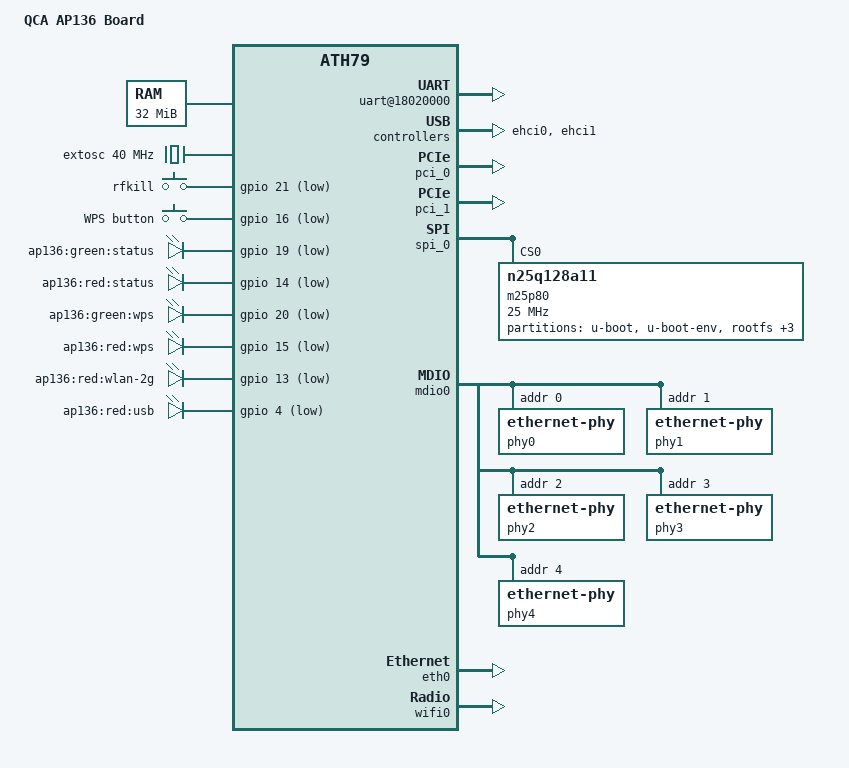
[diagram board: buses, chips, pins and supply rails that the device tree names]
/* Copyright (c) 2017, The Linux Foundation. All rights reserved.
 *
 * Permission to use, copy, modify, and/or distribute this software for any
 * purpose with or without fee is hereby granted, provided that the above
 * copyright notice and this permission notice appear in all copies.
 *
 * THE SOFTWARE IS PROVIDED "AS IS" AND THE AUTHOR DISCLAIMS ALL WARRANTIES
 * WITH REGARD TO THIS SOFTWARE INCLUDING ALL IMPLIED WARRANTIES OF
 * MERCHANTABILITY AND FITNESS. IN NO EVENT SHALL THE AUTHOR BE LIABLE FOR
 * ANY SPECIAL, DIRECT, INDIRECT, OR CONSEQUENTIAL DAMAGES OR ANY DAMAGES
 * WHATSOEVER RESULTING FROM LOSS OF USE, DATA OR PROFITS, WHETHER IN AN
 * ACTION OF CONTRACT, NEGLIGENCE OR OTHER TORTIOUS ACTION, ARISING OUT OF
 * OR IN CONNECTION WITH THE USE OR PERFORMANCE OF THIS SOFTWARE.
 *
 */

/dts-v1/;

#include <dt-bindings/gpio/gpio.h>
#include <dt-bindings/input/input.h>

#include "ath79.dtsi"

/ {
	compatible = "qca,ap136", "qca,ath79";
	model = "QCA AP136 Board";

	aliases {
		serial0 = "/ahb/apb/uart@18020000";
		pci0 = &pci_0;
		pci1 = &pci_1;
		ehci_0 = &ehci0;
		ehci_1 = &ehci1;
		eth0 = "/ahb/ethernet@19000000";
	};

	memory@0 {
		device_type = "memory";
		reg = <0x0 0x2000000>;
	};

	chosen {
		bootargs = "board=DTB console=ttyS0,115200 mtdparts=spi0.0:256k(u-boot)ro,64k(u-boot-env),14528k(rootfs),1472k(kernel),64k(art),16000k@0x50000(firmware) rootfstype=squashfs,jffs2 noinitrd crashkernel=10M@20M";
	};

	extosc: oscillator {
		compatible = "fixed-clock";
		#clock-cells = <0>;
		clock-frequency = <40000000>;
	};

	ahb {
		apb {
			uart@18020000 {
				status = "okay";
			};

			pll-controller@18050000 {
				clocks = <&extosc>;
			};

			ehci0: usb@1b000000 {
				compatible = "qca,ath79-ehci", "qca,ap136-ehci";
				reg = <0x1b000000 0x1000>;
				interrupt-parent = <&ip3_int>;
				interrupts = <0>;
				has-transaction-translator;
				qca_force_host_mode;
				qca_force_16bit_ptw;
				caps-offset = <0x100>;
				status = "okay";
			};

			ehci1: usb@1b400000 {
				compatible = "qca,ath79-ehci", "qca,ap136-ehci";
				reg = <0x1b400000 0x1000>;
				interrupt-parent = <&ip3_int>;
				interrupts = <1>;
				has-transaction-translator;
				qca_force_host_mode;
				qca_force_16bit_ptw;
				caps-offset = <0x100>;
				status = "okay";
			};

			pci_0: pci@0x14000000 {
				compatible = "qca,ar724x-pci";
				reg = <0x14000000 0x1000>,
				      <0x180f0000 0x100>,
				      <0x180c0000 0x1000>,
				      <0x10000000 0x02000000>,
					<0 1>;
				reg-names = "cfg_base","ctrl_base","crp_base",
						"mem_base","io_base";
				interrupt-parent = <&ip2_int>;
				interrupts = <0>;
				status = "okay";
			};

			pci_1: pci@0x16000000 {
				compatible = "qca,ar724x-pci";
				reg = <0x16000000 0x1000>,
				      <0x18280000 0x100>,
				      <0x18250000 0x1000>,
				      <0x12000000 0x02000000>,
					<1 1>;
				reg-names = "cfg_base","ctrl_base","crp_base",
						"mem_base","io_base";
				interrupt-parent = <&ip3_int>;
				interrupts = <2>;
				status = "okay";
			};
		};

		spi_0: spi@1f000000 {
			status = "okay";
			m25p80@0 {
				#address-cells = <1>;
				#size-cells = <1>;
				compatible = "n25q128a11";
				linux,modalias = "m25p80", "n25q128a11";
				reg = <0>;
				spi-max-frequency = <25000000>;

				partition@0 {
					label = "u-boot";
					reg = <0x000000 0x040000>;
				};

				partition@1 {
					label = "u-boot-env";
					reg = <0x040000 0x050000>;
				};

				partition@2 {
					label = "rootfs";
					reg = <0x050000 0xe80000>;
				};

				partition@3 {
					label = "kernel";
					reg = <0xe80000 0xff0000>;
				};

				partition@4 {
					label = "art";
					reg = <0xff0000 0x1000000>;
				};

				partition@5 {
					label = "firmware";
					reg = <0x50000 0xff0000>;
				};
			};
		};

		mdio0: mdio@19000000 {
			compatible = "qca,ag71xx-mdio";
			reg = <0x19000000 0x200>;
			phy-mask = <0>;
			builtin-switch = <0>;
			ar934x-support = <0>;
			reset-bit = <0x400000>;
			phy0: ethernet-phy@0 {
				reg = <0>;
				qca,ar8327-initvals = <
					0x00004 0x7600000     /* PAD0_MODE */
					0x00008 0x1000000   /* PAD5_MODE */
					0x0000c 0x1000080   /* PAD6_MODE */
					0x000e4 0x2a545     /* MAC_POWER_SEL */
					0x000e0 0xc74164d0  /* SGMII_CTRL */
					0x0007c 0x7e        /* PORT0_STATUS */
					0x00094 0x7e        /* PORT6_STATUS */
				>;
			};
			phy1: ethernet-phy@1 {
				reg = <1>;
			};
			phy2: ethernet-phy@2 {
				reg = <2>;
			};
			phy3: ethernet-phy@3 {
				reg = <3>;
			};
			phy4: ethernet-phy@4 {
				reg = <4>;
			};
		};

		eth0: ethernet@19000000 {
			compatible = "qca,ag71xx-eth";
			reg = <0x19000000 0x200>,
			      <0x18070000 0x14>;
			reg-names = "mac_base",
				    "cfg_base";
			mdio-handle = <&mdio0>;
			eth-pll-data = <0x1313 0 0x86000000>;
			phy-mode = <7>;
			phy-mask = <1>;
			force-speed = <1000>;
			force-duplex = <1>;
			max-frame-len = <4095>;
			desc-pktlen-mask = <0x3fff>;
			reset-bit = <0x200>;
			has-gbit = <1>;
			ar724x-support = <1>;
			qca955x-support = <1>;
			fifo-cfg = <0x0010ffff 0x015500aa 0x01f00140>;
			interrupts = <4>;
			interrupt-names = "mac_irq";
			local-mac-address = [ 00 00 00 00 00 00 ];
		};
	};

	gpio-keys-polled {
		compatible = "gpio-keys-polled";
		#address-cells = <1>;
		#size-cells = <0>;

		poll-interval = <20>;
		button@0 {
			label = "rfkill";
			linux,code = <KEY_RFKILL>;
			gpios = <&gpio 21 GPIO_ACTIVE_LOW>;
			debounce-interval = <60>;
		};

		button@1 {
			label = "WPS button";
			linux,code = <KEY_WPS_BUTTON>;
			gpios = <&gpio 16 GPIO_ACTIVE_LOW>;
			debounce-interval = <60>;
		};
	};

	leds {
		compatible = "gpio-leds";
		led@0 {
			label = "ap136:green:status";
			gpios = <&gpio 19 GPIO_ACTIVE_LOW>;
		};

		led@1 {
			label = "ap136:red:status";
			gpios = <&gpio 14 GPIO_ACTIVE_LOW>;
		};

		led@2 {
			label = "ap136:green:wps";
			gpios = <&gpio 20 GPIO_ACTIVE_LOW>;
		};

		led@3 {
			label = "ap136:red:wps";
			gpios = <&gpio 15 GPIO_ACTIVE_LOW>;
		};

		led@4 {
			label = "ap136:red:wlan-2g";
			gpios = <&gpio 13 GPIO_ACTIVE_LOW>;
		};

		led@5 {
			label = "ap136:red:usb";
			gpios = <&gpio 4 GPIO_ACTIVE_LOW>;
		};
	};
	wifi0: wifi@b8100000 {
		compatible = "qca,wifi-ar955x";
		reg = <0xb8100000 0x20000>;
		core-id = <0x0>;

		interrupt-parent = <&ip2_int>;
		interrupts = <1>;
		interrupt-names = "legacy";
		status = "ok";
	};

};
